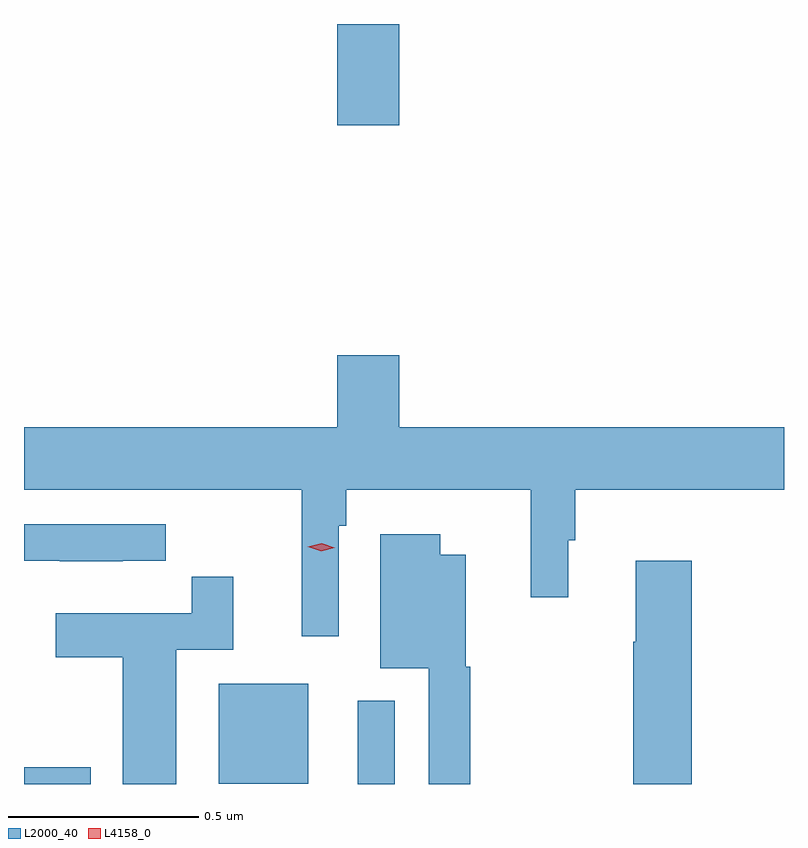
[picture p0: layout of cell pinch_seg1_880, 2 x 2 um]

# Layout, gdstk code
import gdstk
lib = gdstk.Library(unit=1e-6, precision=1e-09)
def R(c, l, rs):  # rectangles x0, y0, x1, y1
    for r in rs: c.add(gdstk.rectangle(r[:2], r[2:], *l))
def P(c, l, *ps):  # polygons
    for p in ps: c.add(gdstk.Polygon(p, *l))
L2000_40 = (2000, 40)
L4158_0 = (4158, 0)

pinch_seg1_880 = lib.new_cell('pinch_seg1_880')
R(pinch_seg1_880, L2000_40, [(415.932,525.649,416.107,525.693), (416.81,525.649,416.907,525.868), (416.444,525.65,416.68,525.913), (416.756,527.382,416.92,527.649)])
P(pinch_seg1_880, L2000_40, [(416.76,526.328),(416.78,526.328),(416.78,526.424),(417.265,526.424),(417.265,526.14),(417.364,526.14),(417.364,526.29),(417.383,526.29),(417.383,526.424),(417.932,526.424),(417.932,526.588),(416.92,526.588),(416.92,526.777),(416.756,526.777),(416.756,526.588),(415.932,526.588),(415.932,526.424),(416.663,526.424),(416.663,526.038),(416.76,526.038)],
  [(416.192,526.236),(416.305,526.236),(416.305,526.332),(415.932,526.332),(415.932,526.236),(416.026,526.236),(416.026,526.235),(416.192,526.235)],
  [(417.106,525.957),(417.094,525.957),(417.094,526.252),(417.028,526.252),(417.028,526.306),(416.87,526.306),(416.87,525.953),(416.997,525.953),(416.997,525.649),(417.106,525.649)],
  [(417.689,526.237),(417.542,526.237),(417.542,526.024),(417.535,526.024),(417.535,525.649),(417.689,525.649)],
  [(416.332,526.002),(416.483,526.002),(416.483,526.195),(416.374,526.195),(416.374,526.098),(416.015,526.098),(416.015,525.982),(416.192,525.982),(416.192,525.649),(416.332,525.649)])
P(pinch_seg1_880, L4158_0, [(416.714,526.262),(416.679,526.273),(416.678,526.274),(416.679,526.274),(416.715,526.282),(416.75,526.271),(416.75,526.271),(416.75,526.271)])

lib.write_gds('pinch_seg1_880.gds')
